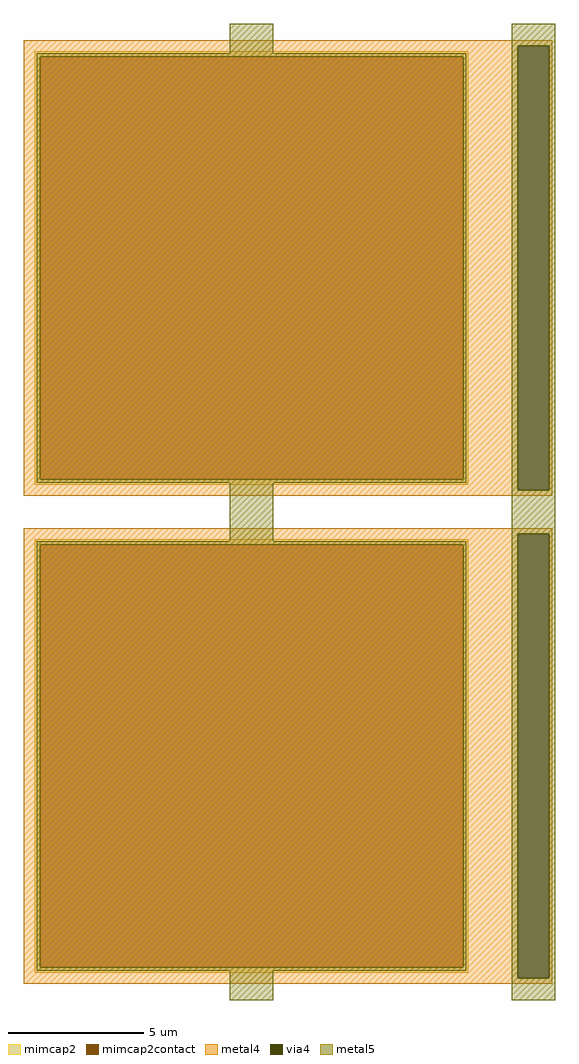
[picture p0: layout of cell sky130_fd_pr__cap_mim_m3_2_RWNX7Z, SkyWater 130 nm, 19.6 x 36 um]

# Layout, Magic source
magic
tech sky130A
magscale 1 2
<< metal4 >>
rect -1949 3439 1949 3480
rect -1949 161 1693 3439
rect 1929 161 1949 3439
rect -1949 120 1949 161
rect -1949 -161 1949 -120
rect -1949 -3439 1693 -161
rect 1929 -3439 1949 -161
rect -1949 -3480 1949 -3439
<< via4 >>
rect 1693 161 1929 3439
rect 1693 -3439 1929 -161
<< mimcap2 >>
rect -1869 3360 1331 3400
rect -1869 240 -1829 3360
rect 1291 240 1331 3360
rect -1869 200 1331 240
rect -1869 -240 1331 -200
rect -1869 -3360 -1829 -240
rect 1291 -3360 1331 -240
rect -1869 -3400 1331 -3360
<< mimcap2contact >>
rect -1829 240 1291 3360
rect -1829 -3360 1291 -240
<< metal5 >>
rect -429 3384 -109 3600
rect 1651 3439 1971 3600
rect -1853 3360 1315 3384
rect -1853 240 -1829 3360
rect 1291 240 1315 3360
rect -1853 216 1315 240
rect -429 -216 -109 216
rect 1651 161 1693 3439
rect 1929 161 1971 3439
rect 1651 -161 1971 161
rect -1853 -240 1315 -216
rect -1853 -3360 -1829 -240
rect 1291 -3360 1315 -240
rect -1853 -3384 1315 -3360
rect -429 -3600 -109 -3384
rect 1651 -3439 1693 -161
rect 1929 -3439 1971 -161
rect 1651 -3600 1971 -3439
<< properties >>
string FIXED_BBOX -1949 120 1411 3480
string gencell sky130_fd_pr__cap_mim_m3_2
string library sky130
string parameters w 16.0 l 16.0 val 524.159 carea 2.00 cperi 0.19 nx 1 ny 2 dummy 0 square 0 lmin 2.00 wmin 2.00 lmax 30.0 wmax 30.0 dc 0 bconnect 1 tconnect 1 ccov 100
<< end >>
